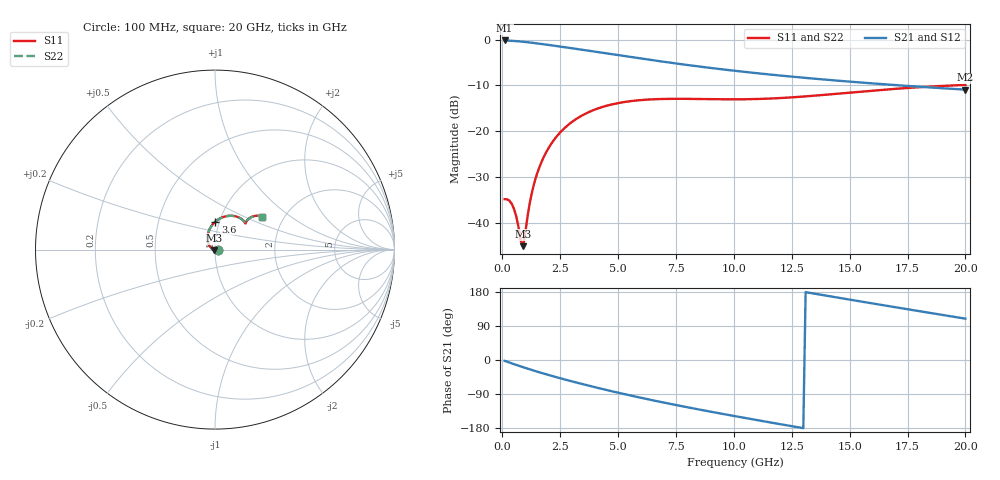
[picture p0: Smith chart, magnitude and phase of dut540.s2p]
! Touchstone file exported from HFSS 2024.1.0
!  File:  C:/UserFiles/LocalFiles/RDL_TSV_Batchsim/temp_RDL_TSV_540_1779746963.aedt
!  Generated:  06:24:32 AM May 26, 2026
!  Design:  RDL_TSV
!  Project:  temp_RDL_TSV_540_1779746963
!  Setup:  Setup1
!  Solution:  Sweep
! Variables:
!  dtsv = 13.33um
!  hbump = 3um
!  htsv = 64.45um
!  ldown = 413.33um
!  lrdl = 645.84um
!  p = 40
!  p1 = 49.43um
!  rhole = 10um
!  subl = 3823.35um
!  t = 450um
!  tdown = 4.79um
!  trdl = 2.47um
!  viad = 10um
!  wdown = 25.64um
!  wrdl = 26.2um
!  xbump = 18um
# GHz S MA R 50.000000
! Terminal data exported
! Port[1] = TM1_1_T1
! Port[2] = TM1_4_T1
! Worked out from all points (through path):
!   200 points, 100 MHz to 20 GHz, reference 50 ohm
!   highest |S21| = -0.17 dB at 100 MHz (marker M1); lowest = -10.9 dB at 20 GHz (marker M2)
!   group delay of S21, straight-line fit = 33.1 ps
!   lowest |S11| = -45.1 dB at 900 MHz (marker M3), VSWR 1.01, Z = 49.7 - j0.476 ohm
!   |S11| at or under -10 dB: start of sweep to 19.41 GHz
!   |S22| runs from -45.1 to -9.9 dB; largest |S21 - S12| = 1.1e-14
!   S11 on the Smith chart (normalised r, x): 100 MHz: 1.04, -0.00; 3.6 GHz: 0.96, +0.31; 20 GHz: 1.56, +0.64
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0.1  0.01814 -2.0  0.9811 -2.2  0.9811 -2.2  0.01814 -2.0
! Gamma 0 0 0 0
! Port Impedance 50 0 50 0
0.3  0.01753 -10.4  0.9762 -6.6  0.9762 -6.6  0.01752 -10.4
0.5  0.01433 -24.4  0.969 -10.8  0.969 -10.8  0.01432 -24.4
0.6  0.01183 -34.2  0.9648 -12.9  0.9648 -12.9  0.01183 -34.2
0.8  0.006377 -74.6  0.9551 -17.0  0.9551 -17.0  0.006358 -74.6
0.9  0.005563 -120.6  0.9496 -19.0  0.9496 -19.0  0.005544 -120.7
1.1  0.01217 179.1  0.9378 -23.0  0.9378 -23.0  0.01217 178.9
1.3  0.0226 159.1  0.9251 -26.8  0.9251 -26.8  0.0226 159.0
1.5  0.03429 147.5  0.9117 -30.6  0.9117 -30.6  0.03429 147.4
1.7  0.04664 138.7  0.8978 -34.2  0.8978 -34.2  0.04664 138.6
2  0.0657 127.9  0.8768 -39.6  0.8768 -39.6  0.0657 127.9
2.4  0.09094 116.1  0.8486 -46.5  0.8486 -46.5  0.09092 116.0
2.9  0.1205 103.6  0.814 -54.7  0.814 -54.7  0.1205 103.5
3.5  0.1514 91.1  0.7735 -64.2  0.7735 -64.2  0.1514 91.1
3.6  0.156 89.3  0.7669 -65.7  0.7669 -65.7  0.1559 89.2
5.2  0.2072 65.5  0.6675 -89.1  0.6675 -89.1  0.2071 65.4
6.8  0.2249 50.8  0.5823 -110.2  0.5823 -110.2  0.2246 50.7
8.4  0.2253 43.1  0.5133 -129.5  0.5133 -129.5  0.225 43.0
10.1  0.2233 40.6  0.4558 -148.8  0.4558 -148.8  0.2229 40.5
13.4  0.2438 42.4  0.3767 175.9  0.3767 175.9  0.2432 42.3
16.7  0.2873 40.6  0.3231 142.0  0.3231 142.0  0.2865 40.5
20  0.3206 34.9  0.2849 109.1  0.2849 109.1  0.3197 34.8
